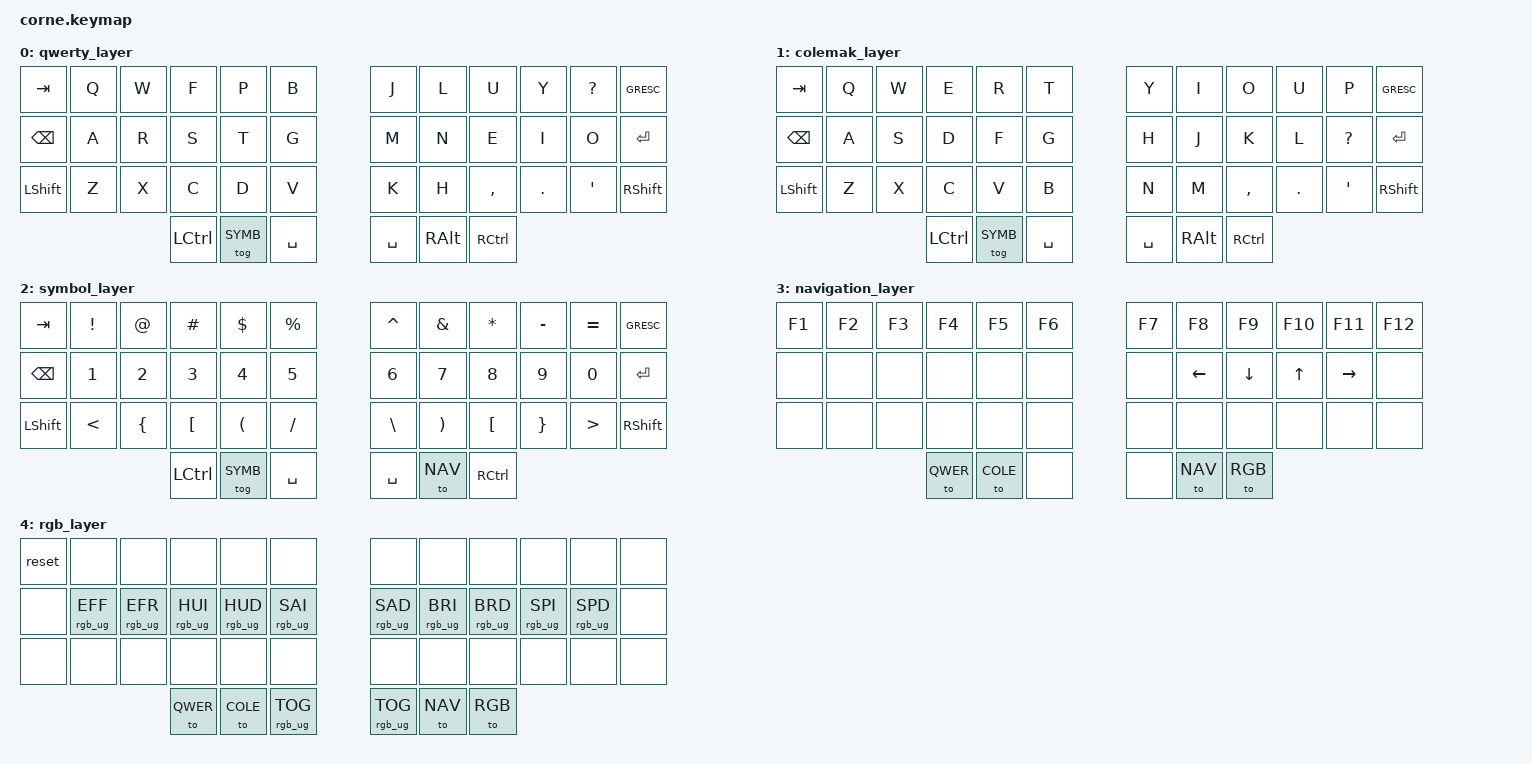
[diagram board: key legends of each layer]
/*
 * Copyright (c) 2020 The ZMK Contributors
 *
 * SPDX-License-Identifier: MIT
 */

#include <behaviors.dtsi>
#include <dt-bindings/zmk/keys.h>
#include <dt-bindings/zmk/bt.h>
#include <dt-bindings/zmk/rgb.h>

#define QWER 0
#define COLE 1
#define SYMB 2
#define NAV  3
#define RGB  4

/ {
        keymap {
                compatible = "zmk,keymap";
                qwerty_layer {
                        bindings = <
   &kp TAB      &kp Q        &kp W        &kp F        &kp P        &kp B        &kp J        &kp L        &kp U        &kp Y        &kp QMARK    &kp GRESC
   &kp BSPC     &kp A        &kp R        &kp S        &kp T        &kp G        &kp M        &kp N        &kp E        &kp I        &kp O        &kp RET
   &kp LSHFT    &kp Z        &kp X        &kp C        &kp D        &kp V        &kp K        &kp H        &kp COMMA    &kp DOT      &kp SQT      &kp RSHFT
                                          &kp LCTRL    &tog SYMB    &kp SPACE    &kp SPACE    &kp RALT     &kp RCTRL
                        >;
                };
                colemak_layer {
                        bindings = <
   &kp TAB      &kp Q        &kp W        &kp E        &kp R        &kp T        &kp Y        &kp I        &kp O        &kp U        &kp P        &kp GRESC
   &kp BSPC     &kp A        &kp S        &kp D        &kp F        &kp G        &kp H        &kp J        &kp K        &kp L        &kp QMARK    &kp RET
   &kp LSHFT    &kp Z        &kp X        &kp C        &kp V        &kp B        &kp N        &kp M        &kp COMMA    &kp DOT      &kp SQT      &kp RSHFT
                                          &kp LCTRL    &tog SYMB    &kp SPACE    &kp SPACE    &kp RALT     &kp RCTRL
                        >;
                };
                symbol_layer {
                        bindings = <
   &kp TAB      &kp EXCL     &kp AT       &kp HASH     &kp DLLR     &kp PRCNT    &kp CARET    &kp AMPS     &kp ASTRK    &kp MINUS    &kp EQUAL    &kp GRESC
   &kp BSPC     &kp N1       &kp N2       &kp N3       &kp N4       &kp N5       &kp N6       &kp N7       &kp N8       &kp N9       &kp N0       &kp RET
   &kp LSHFT    &kp LT       &kp LBRC     &kp LBKT     &kp LPAR     &kp FSLH     &kp BSLH     &kp RPAR     &kp LBKT     &kp RBRC     &kp GT       &kp RSHFT
                                          &kp LCTRL    &tog SYMB    &kp SPACE    &kp SPACE    &to NAV      &kp RCTRL
                        >;
                };
                navigation_layer {
                        bindings = <
   &kp F1       &kp F2       &kp F3       &kp F4       &kp F5       &kp F6       &kp F7       &kp F8       &kp F9       &kp F10      &kp F11      &kp F12
   &none        &none        &none        &none        &none        &none        &none        &kp LEFT     &kp DOWN     &kp UP       &kp RIGHT    &none
   &none        &none        &none        &none        &none        &none        &none        &none        &none        &none        &none        &none
                                          &to QWER     &to COLE     &none        &none        &to NAV      &to RGB
                        >;
                };
                rgb_layer {
                        bindings = <
   &reset &none           &none           &none           &none           &none           &none           &none           &none           &none           &none           &none
   &none  &rgb_ug RGB_EFF &rgb_ug RGB_EFR &rgb_ug RGB_HUI &rgb_ug RGB_HUD &rgb_ug RGB_SAI &rgb_ug RGB_SAD &rgb_ug RGB_BRI &rgb_ug RGB_BRD &rgb_ug RGB_SPI &rgb_ug RGB_SPD &none
   &none  &none           &none           &none           &none           &none           &none           &none           &none           &none           &none           &none
                                          &to QWER        &to COLE        &rgb_ug RGB_TOG &rgb_ug RGB_TOG &to NAV         &to RGB
                        >;
                };
        };
};
